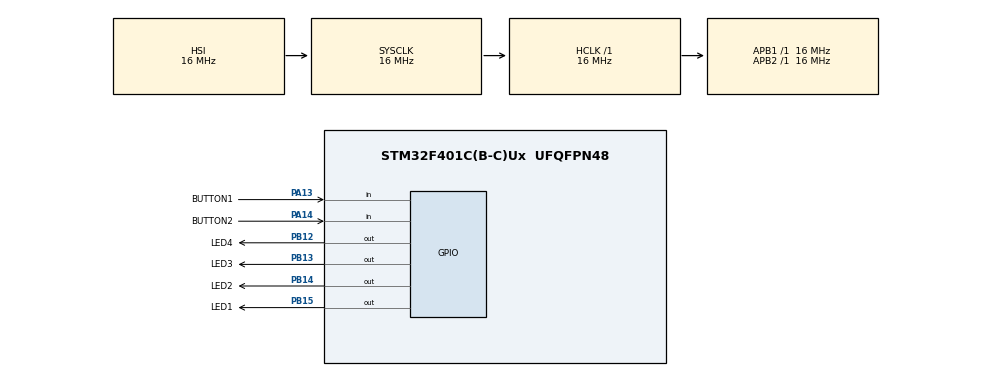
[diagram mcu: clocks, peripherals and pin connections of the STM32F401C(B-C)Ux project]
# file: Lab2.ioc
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Mcu.Family=STM32F4
Mcu.Name=STM32F401C(B-C)Ux
Mcu.Package=UFQFPN48
NVIC.PriorityGroup=NVIC_PRIORITYGROUP_4
PA13.GPIO_Label=BUTTON1
PA13.Signal=GPIO_Input
PA14.GPIO_Label=BUTTON2
PA14.Signal=GPIO_Input
PB12.GPIO_Label=LED4
PB12.Signal=GPIO_Output
PB13.GPIO_Label=LED3
PB13.Signal=GPIO_Output
PB14.GPIO_Label=LED2
PB14.Signal=GPIO_Output
PB15.GPIO_Label=LED1
PB15.Signal=GPIO_Output
ProjectManager.HeapSize=0x200
ProjectManager.StackSize=0x400
ProjectManager.TargetToolchain=STM32CubeIDE
RCC.AHBFreq_Value=16000000
RCC.APB1Freq_Value=16000000
RCC.APB2Freq_Value=16000000
RCC.CortexFreq_Value=16000000
RCC.HSE_VALUE=25000000
RCC.HSI_VALUE=16000000
RCC.LSE_VALUE=32768
RCC.SYSCLKFreq_VALUE=16000000
RCC.VCOOutputFreq_Value=192000000
board=custom

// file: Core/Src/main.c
/* USER CODE BEGIN Header */
/**
  ******************************************************************************
  * @file           : main.c
  * @brief          : Main program body
  ******************************************************************************
  * @attention
  *
  * Copyright (c) 2022 STMicroelectronics.
  * All rights reserved.
  *
  * This software is licensed under terms that can be found in the LICENSE file
  * in the root directory of this software component.
  * If no LICENSE file comes with this software, it is provided AS-IS.
  *
  ******************************************************************************
  */
/* USER CODE END Header */
#include "main.h"

void SystemClock_Config(void);
static void MX_GPIO_Init(void);

/* USER CODE BEGIN 0 */

void TurnOFF(){

					HAL_GPIO_WritePin(LED1_GPIO_Port, LED1_Pin, GPIO_PIN_RESET);
		  			HAL_GPIO_WritePin(LED2_GPIO_Port, LED2_Pin, GPIO_PIN_RESET);
		  			HAL_GPIO_WritePin(LED3_GPIO_Port, LED3_Pin, GPIO_PIN_RESET);
		  			HAL_GPIO_WritePin(LED4_GPIO_Port, LED4_Pin, GPIO_PIN_RESET);

}

/* USER CODE END 0 */

int main(void)
{
int but1=0;
int but2=0;

  /* MCU Configuration--------------------------------------------------------*/

  /* Reset of all peripherals, Initializes the Flash interface and the Systick. */
  HAL_Init();

  /* Configure the system clock */
  SystemClock_Config();

  /* Initialize all configured peripherals */
  MX_GPIO_Init();

  /* Infinite loop */
  /* USER CODE BEGIN WHILE */

  while (1)
  {
	  if(HAL_GPIO_ReadPin(BUTTON1_GPIO_Port,BUTTON1_Pin)==GPIO_PIN_SET && but2!=0 || HAL_GPIO_ReadPin(BUTTON2_GPIO_Port,BUTTON2_Pin)==GPIO_PIN_SET && but1!=0)
	  {

		  but1=0;
		  but2=0;
		  TurnOFF();

	  }

	  if(HAL_GPIO_ReadPin(BUTTON1_GPIO_Port,BUTTON1_Pin)==GPIO_PIN_SET)
	  		  {
	  		  TurnOFF();
	  	  	  if(but1==0)
	  	  	  {
	  	  		  HAL_GPIO_WritePin(LED1_GPIO_Port, LED1_Pin, GPIO_PIN_SET);
	  	  	  }

	  	  	  else if(but1==1)
	  	  	  {
	  		  	  HAL_GPIO_WritePin(LED2_GPIO_Port, LED2_Pin, GPIO_PIN_SET);
	  	  	  }

	  	  	  else if(but1==2)
	  	  	  {
	  	  	  	  HAL_GPIO_WritePin(LED3_GPIO_Port, LED3_Pin, GPIO_PIN_SET);
	  	  	  }

	  	  	  else if(but1==3)
	  	  	  {
	  		  	  HAL_GPIO_WritePin(LED4_GPIO_Port, LED4_Pin, GPIO_PIN_SET);
	  	  	  }

	  	  	  but1++;
	  	  	  if(but1==4)
	  	  		  but1=0;
	  	  	  HAL_Delay(300);

	  		  }

	  	  if(HAL_GPIO_ReadPin(BUTTON2_GPIO_Port,BUTTON2_Pin)==GPIO_PIN_SET)
	  	  		  {

	  		  		  if(but2==0)
	  	  	  	  {

	  	  	  		  HAL_GPIO_WritePin(LED1_GPIO_Port, LED1_Pin, GPIO_PIN_SET);
	  	  	  	  }

	  	  	  	  else if(but2==1)
	  	  	  	  {
	  	  		  	  HAL_GPIO_WritePin(LED2_GPIO_Port, LED2_Pin, GPIO_PIN_SET);
	  	  	  	  }

	  	  	  	  else if(but2==2)
	  	  	  	  {
	  	  	  	  	  HAL_GPIO_WritePin(LED3_GPIO_Port, LED3_Pin, GPIO_PIN_SET);
	  	  	  	  }

	  	  	  	  else if(but2==3)
	  	  	  	  {
	  	  		  	  HAL_GPIO_WritePin(LED4_GPIO_Port, LED4_Pin, GPIO_PIN_SET);
	  	  	  	  }

	  	  	  	  if(but2==4)
	  	  	  	  {
	  	  	  		  TurnOFF();
	  	  	  		  but2=-1;
	  	  	  	  }
	  	  	  	  but2++;
	  	  	  	  HAL_Delay(300);
	  	  		  }

    /* USER CODE END WHILE */

  }
}

void SystemClock_Config(void)
{
  RCC_OscInitTypeDef RCC_OscInitStruct = {0};
  RCC_ClkInitTypeDef RCC_ClkInitStruct = {0};

  /** Configure the main internal regulator output voltage
  */
  __HAL_RCC_PWR_CLK_ENABLE();
  __HAL_PWR_VOLTAGESCALING_CONFIG(PWR_REGULATOR_VOLTAGE_SCALE2);

  /** Initializes the RCC Oscillators according to the specified parameters
  * in the RCC_OscInitTypeDef structure.
  */
  RCC_OscInitStruct.OscillatorType = RCC_OSCILLATORTYPE_HSI;
  RCC_OscInitStruct.HSIState = RCC_HSI_ON;
  RCC_OscInitStruct.HSICalibrationValue = RCC_HSICALIBRATION_DEFAULT;
  RCC_OscInitStruct.PLL.PLLState = RCC_PLL_NONE;
  if (HAL_RCC_OscConfig(&RCC_OscInitStruct) != HAL_OK)
  {
    Error_Handler();
  }

  /** Initializes the CPU, AHB and APB buses clocks
  */
  RCC_ClkInitStruct.ClockType = RCC_CLOCKTYPE_HCLK|RCC_CLOCKTYPE_SYSCLK
                              |RCC_CLOCKTYPE_PCLK1|RCC_CLOCKTYPE_PCLK2;
  RCC_ClkInitStruct.SYSCLKSource = RCC_SYSCLKSOURCE_HSI;
  RCC_ClkInitStruct.AHBCLKDivider = RCC_SYSCLK_DIV1;
  RCC_ClkInitStruct.APB1CLKDivider = RCC_HCLK_DIV1;
  RCC_ClkInitStruct.APB2CLKDivider = RCC_HCLK_DIV1;

  if (HAL_RCC_ClockConfig(&RCC_ClkInitStruct, FLASH_LATENCY_0) != HAL_OK)
  {
    Error_Handler();
  }
}

static void MX_GPIO_Init(void)
{
  GPIO_InitTypeDef GPIO_InitStruct = {0};

  /* GPIO Ports Clock Enable */
  __HAL_RCC_GPIOB_CLK_ENABLE();
  __HAL_RCC_GPIOA_CLK_ENABLE();

  /*Configure GPIO pin Output Level */
  HAL_GPIO_WritePin(GPIOB, LED4_Pin|LED3_Pin|LED2_Pin|LED1_Pin, GPIO_PIN_RESET);

  /*Configure GPIO pins : LED4_Pin LED3_Pin LED2_Pin LED1_Pin */
  GPIO_InitStruct.Pin = LED4_Pin|LED3_Pin|LED2_Pin|LED1_Pin;
  GPIO_InitStruct.Mode = GPIO_MODE_OUTPUT_PP;
  GPIO_InitStruct.Pull = GPIO_NOPULL;
  GPIO_InitStruct.Speed = GPIO_SPEED_FREQ_LOW;
  HAL_GPIO_Init(GPIOB, &GPIO_InitStruct);

  /*Configure GPIO pins : BUTTON1_Pin BUTTON2_Pin */
  GPIO_InitStruct.Pin = BUTTON1_Pin|BUTTON2_Pin;
  GPIO_InitStruct.Mode = GPIO_MODE_INPUT;
  GPIO_InitStruct.Pull = GPIO_NOPULL;
  HAL_GPIO_Init(GPIOA, &GPIO_InitStruct);

}

void Error_Handler(void)
{
  __disable_irq();
  while (1)
  {
  }
}
